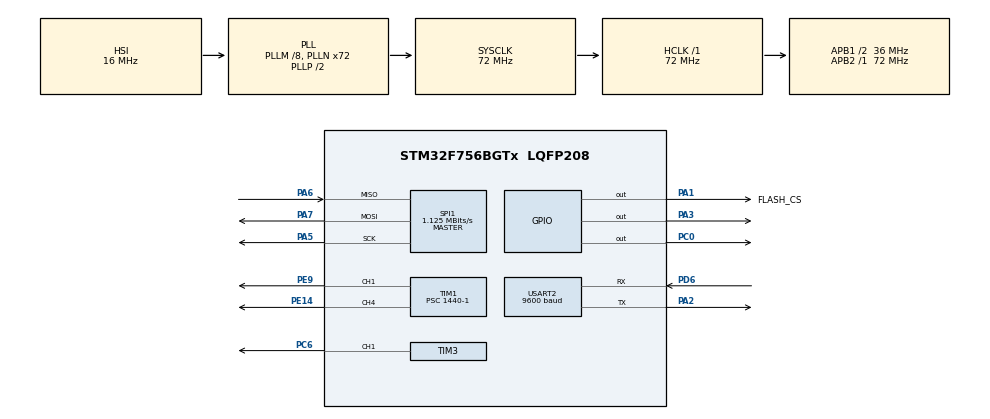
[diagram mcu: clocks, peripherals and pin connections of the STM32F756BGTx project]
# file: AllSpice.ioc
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Mcu.Family=STM32F7
PA6.Mode=Full_Duplex_Master
SH.S_TIM1_CH4.0=TIM1_CH4,PWM Generation4 CH4
RCC.CortexFreq_Value=72000000
SPI1.VirtualType=VM_MASTER
PC14/OSC32_IN.Mode=LSE-External-Oscillator
RCC.SYSCLKSource=RCC_SYSCLKSOURCE_PLLCLK
ProjectManager.StackSize=0x400
TIM1.Prescaler=1440-1
TIM1.Channel-PWM\ Generation4\ CH4=TIM_CHANNEL_4
SPI1.Direction=SPI_DIRECTION_2LINES
PH0/OSC_IN.Mode=HSE-External-Clock-Source
RCC.HCLKFreq_Value=72000000
RCC.APB2TimFreq_Value=72000000
TIM3.Period=1000 - 1
PH1/OSC_OUT.Signal=RCC_OSC_OUT
SPI1.CalculateBaudRate=1.125 MBits/s
RCC.AHBFreq_Value=72000000
TIM3.Channel-PWM\ Generation1\ CH1=TIM_CHANNEL_1
RCC.HSE_VALUE=8000000
PB3.Mode=JTAG_4_pins
USART2.VirtualMode-Asynchronous=VM_ASYNC
PA15.Mode=JTAG_4_pins
TIM1.Channel-PWM\ Generation1\ CH1=TIM_CHANNEL_1
PE9.Signal=S_TIM1_CH1
PA14.Mode=JTAG_4_pins
TIM3.Prescaler=1440 - 1
NVIC.TIM2_IRQn=true\:0\:0\:false\:false\:true\:true\:true
SPI1.DataSize=SPI_DATASIZE_8BIT
SH.S_TIM3_CH1.0=TIM3_CH1,PWM Generation1 CH1
PH1/OSC_OUT.Mode=HSE-External-Clock-Source
VP_TIM1_VS_ClockSourceINT.Mode=Internal
Mcu.Package=LQFP208
TIM2.Prescaler=2500-1
PA6.Signal=SPI1_MISO
PC14/OSC32_IN.Signal=RCC_OSC32_IN
PA15.Signal=SYS_JTDI
RCC.APB1TimFreq_Value=72000000
TIM1.Period=1000-1
PD6.Signal=USART2_RX
SPI1.BaudRatePrescaler=SPI_BAUDRATEPRESCALER_64
VP_TIM3_VS_ClockSourceINT.Mode=Internal
PA3.Signal=GPIO_Output
PA5.Mode=Full_Duplex_Master
PA7.Mode=Full_Duplex_Master
PC6.Signal=S_TIM3_CH1
PC0.Signal=GPIO_Output
RCC.APB1CLKDivider=RCC_HCLK_DIV2
PD6.Mode=Asynchronous
NVIC.USART2_IRQn=true\:0\:0\:false\:false\:true\:true\:true
USART2.BaudRate=9600
PA13.Signal=SYS_JTMS-SWDIO
SH.S_TIM1_CH1.0=TIM1_CH1,PWM Generation1 CH1
ProjectManager.TargetToolchain=STM32CubeIDE
RCC.USBFreq_Value=72000000
PA1.Signal=GPIO_Output
PA5.Signal=SPI1_SCK
board=custom
RCC.VCOOutputFreq_Value=144000000
PH0/OSC_IN.Signal=RCC_OSC_IN
RCC.APB2Freq_Value=72000000
PE14.Signal=S_TIM1_CH4
VP_TIM2_VS_ClockSourceINT.Mode=Internal
SPI1.Mode=SPI_MODE_MASTER
PA1.GPIO_Label=FLASH_CS
TIM2.Period=50000-1
PA13.Mode=JTAG_4_pins
Mcu.Name=STM32F756BGTx
SPI1.NSSPMode=SPI_NSS_PULSE_DISABLE
PA2.Signal=USART2_TX
PB3.Signal=SYS_JTDO-SWO
RCC.SYSCLKFreq_VALUE=72000000
PC15/OSC32_OUT.Mode=LSE-External-Oscillator
PA14.Signal=SYS_JTCK-SWCLK
ProjectManager.HeapSize=0x200
RCC.HSI_VALUE=16000000
NVIC.PriorityGroup=NVIC_PRIORITYGROUP_4
RCC.PLLM=8
RCC.PLLN=72
PA2.Mode=Asynchronous
PC15/OSC32_OUT.Signal=RCC_OSC32_OUT
RCC.APB1Freq_Value=36000000
VP_CRC_VS_CRC.Mode=CRC_Activate
PA7.Signal=SPI1_MOSI

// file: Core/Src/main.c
/* USER CODE BEGIN Header */
/**
 ******************************************************************************
 * @file           : main.c
 * @brief          : Main program body
 ******************************************************************************
 * @attention
 *
 * <h2><center>&copy; Copyright (c) 2021 STMicroelectronics.
 * All rights reserved.</center></h2>
 *
 * This software component is licensed by ST under BSD 3-Clause license,
 * the "License"; You may not use this file except in compliance with the
 * License. You may obtain a copy of the License at:
 *                        opensource.org/licenses/BSD-3-Clause
 *
 ******************************************************************************
 */
/* USER CODE END Header */
#include "main.h"

/* USER CODE BEGIN Includes */
#include <stdlib.h>
#include "spices.h"
#include "flash.h"
#include "bluetooth.h"
#include "motors.h"
/* USER CODE END Includes */

CRC_HandleTypeDef hcrc;

SPI_HandleTypeDef hspi1;

TIM_HandleTypeDef htim1;
TIM_HandleTypeDef htim2;
TIM_HandleTypeDef htim3;

UART_HandleTypeDef huart2;

/* USER CODE BEGIN PV */
// Allocate memory for spice_list
spice_t spice_list[NUMCONTAINERS];
/* USER CODE END PV */

void SystemClock_Config(void);
static void MX_GPIO_Init(void);
static void MX_CRC_Init(void);
static void MX_SPI1_Init(void);
static void MX_TIM1_Init(void);
static void MX_TIM2_Init(void);
static void MX_USART2_UART_Init(void);
static void MX_TIM3_Init(void);

int main(void) {
	/* USER CODE BEGIN 1 */
	HAL_GPIO_WritePin(FLASH_CS_GPIO_Port, FLASH_CS_Pin, SET);
	/* USER CODE END 1 */

	/* MCU Configuration--------------------------------------------------------*/

	/* Reset of all peripherals, Initializes the Flash interface and the Systick. */
	HAL_Init();

	/* Configure the system clock */
	SystemClock_Config();

	/* Initialize all configured peripherals */
	MX_GPIO_Init();
	MX_CRC_Init();
	MX_SPI1_Init();
	MX_TIM1_Init();
	MX_TIM2_Init();
	MX_USART2_UART_Init();
	MX_TIM3_Init();
	/* USER CODE BEGIN 2 */

	// Attempt to read spice_list from flash; if invalid, make new list
	// Make 10 attempts, flash read can be unreliable
	for (int i = 0; i < 10; i++) {
		if (flash_read())
			goto valid;
	}
	// Only execute this if invalid
	initList(spice_list);
	flash_write();

	valid:

	// Set buffer to all 0's
	memset(buffer, 0, sizeof(buffer));

	// For broadcast every five seconds; shouldn't need this, but
	// I left it in case I want to turn it back on
//	HAL_TIM_Base_Start_IT(&htim2);

	// Enable USART2 interrupt
	__HAL_UART_ENABLE_IT(&huart2, UART_IT_RXNE);

	// Start PWM for servo
	HAL_TIM_PWM_Start(&htim1, TIM_CHANNEL_1);

	/* USER CODE END 2 */

	/* Infinite loop */
	while (1) {

	}
}

void SystemClock_Config(void) {
	RCC_OscInitTypeDef RCC_OscInitStruct = { 0 };
	RCC_ClkInitTypeDef RCC_ClkInitStruct = { 0 };
	RCC_PeriphCLKInitTypeDef PeriphClkInitStruct = { 0 };

	/** Configure LSE Drive Capability
	 */
	HAL_PWR_EnableBkUpAccess();
	/** Configure the main internal regulator output voltage
	 */
	__HAL_RCC_PWR_CLK_ENABLE();
	__HAL_PWR_VOLTAGESCALING_CONFIG(PWR_REGULATOR_VOLTAGE_SCALE3);
	/** Initializes the RCC Oscillators according to the specified parameters
	 * in the RCC_OscInitTypeDef structure.
	 */
	RCC_OscInitStruct.OscillatorType = RCC_OSCILLATORTYPE_HSI;
	RCC_OscInitStruct.HSIState = RCC_HSI_ON;
	RCC_OscInitStruct.HSICalibrationValue = RCC_HSICALIBRATION_DEFAULT;
	RCC_OscInitStruct.PLL.PLLState = RCC_PLL_ON;
	RCC_OscInitStruct.PLL.PLLSource = RCC_PLLSOURCE_HSI;
	RCC_OscInitStruct.PLL.PLLM = 8;
	RCC_OscInitStruct.PLL.PLLN = 72;
	RCC_OscInitStruct.PLL.PLLP = RCC_PLLP_DIV2;
	RCC_OscInitStruct.PLL.PLLQ = 2;
	if (HAL_RCC_OscConfig(&RCC_OscInitStruct) != HAL_OK) {
		Error_Handler();
	}
	/** Initializes the CPU, AHB and APB buses clocks
	 */
	RCC_ClkInitStruct.ClockType = RCC_CLOCKTYPE_HCLK | RCC_CLOCKTYPE_SYSCLK
			| RCC_CLOCKTYPE_PCLK1 | RCC_CLOCKTYPE_PCLK2;
	RCC_ClkInitStruct.SYSCLKSource = RCC_SYSCLKSOURCE_PLLCLK;
	RCC_ClkInitStruct.AHBCLKDivider = RCC_SYSCLK_DIV1;
	RCC_ClkInitStruct.APB1CLKDivider = RCC_HCLK_DIV2;
	RCC_ClkInitStruct.APB2CLKDivider = RCC_HCLK_DIV1;

	if (HAL_RCC_ClockConfig(&RCC_ClkInitStruct, FLASH_LATENCY_2) != HAL_OK) {
		Error_Handler();
	}
	PeriphClkInitStruct.PeriphClockSelection = RCC_PERIPHCLK_USART2;
	PeriphClkInitStruct.Usart2ClockSelection = RCC_USART2CLKSOURCE_PCLK1;
	if (HAL_RCCEx_PeriphCLKConfig(&PeriphClkInitStruct) != HAL_OK) {
		Error_Handler();
	}
}

static void MX_CRC_Init(void) {

	hcrc.Instance = CRC;
	hcrc.Init.DefaultPolynomialUse = DEFAULT_POLYNOMIAL_ENABLE;
	hcrc.Init.DefaultInitValueUse = DEFAULT_INIT_VALUE_ENABLE;
	hcrc.Init.InputDataInversionMode = CRC_INPUTDATA_INVERSION_NONE;
	hcrc.Init.OutputDataInversionMode = CRC_OUTPUTDATA_INVERSION_DISABLE;
	hcrc.InputDataFormat = CRC_INPUTDATA_FORMAT_BYTES;
	if (HAL_CRC_Init(&hcrc) != HAL_OK) {
		Error_Handler();
	}

}

static void MX_SPI1_Init(void) {

	/* SPI1 parameter configuration*/
	hspi1.Instance = SPI1;
	hspi1.Init.Mode = SPI_MODE_MASTER;
	hspi1.Init.Direction = SPI_DIRECTION_2LINES;
	hspi1.Init.DataSize = SPI_DATASIZE_8BIT;
	hspi1.Init.CLKPolarity = SPI_POLARITY_LOW;
	hspi1.Init.CLKPhase = SPI_PHASE_1EDGE;
	hspi1.Init.NSS = SPI_NSS_SOFT;
	hspi1.Init.BaudRatePrescaler = SPI_BAUDRATEPRESCALER_64;
	hspi1.Init.FirstBit = SPI_FIRSTBIT_MSB;
	hspi1.Init.TIMode = SPI_TIMODE_DISABLE;
	hspi1.Init.CRCCalculation = SPI_CRCCALCULATION_DISABLE;
	hspi1.Init.CRCPolynomial = 7;
	hspi1.Init.CRCLength = SPI_CRC_LENGTH_DATASIZE;
	hspi1.Init.NSSPMode = SPI_NSS_PULSE_DISABLE;
	if (HAL_SPI_Init(&hspi1) != HAL_OK) {
		Error_Handler();
	}

}

static void MX_TIM1_Init(void) {

	TIM_ClockConfigTypeDef sClockSourceConfig = { 0 };
	TIM_MasterConfigTypeDef sMasterConfig = { 0 };
	TIM_OC_InitTypeDef sConfigOC = { 0 };
	TIM_BreakDeadTimeConfigTypeDef sBreakDeadTimeConfig = { 0 };

	htim1.Instance = TIM1;
	htim1.Init.Prescaler = 1440 - 1;
	htim1.Init.CounterMode = TIM_COUNTERMODE_UP;
	htim1.Init.Period = 1000 - 1;
	htim1.Init.ClockDivision = TIM_CLOCKDIVISION_DIV1;
	htim1.Init.RepetitionCounter = 0;
	htim1.Init.AutoReloadPreload = TIM_AUTORELOAD_PRELOAD_DISABLE;
	if (HAL_TIM_Base_Init(&htim1) != HAL_OK) {
		Error_Handler();
	}
	sClockSourceConfig.ClockSource = TIM_CLOCKSOURCE_INTERNAL;
	if (HAL_TIM_ConfigClockSource(&htim1, &sClockSourceConfig) != HAL_OK) {
		Error_Handler();
	}
	if (HAL_TIM_PWM_Init(&htim1) != HAL_OK) {
		Error_Handler();
	}
	sMasterConfig.MasterOutputTrigger = TIM_TRGO_RESET;
	sMasterConfig.MasterOutputTrigger2 = TIM_TRGO2_RESET;
	sMasterConfig.MasterSlaveMode = TIM_MASTERSLAVEMODE_DISABLE;
	if (HAL_TIMEx_MasterConfigSynchronization(&htim1, &sMasterConfig)
			!= HAL_OK) {
		Error_Handler();
	}
	sConfigOC.OCMode = TIM_OCMODE_PWM1;
	sConfigOC.Pulse = 0;
	sConfigOC.OCPolarity = TIM_OCPOLARITY_HIGH;
	sConfigOC.OCNPolarity = TIM_OCNPOLARITY_HIGH;
	sConfigOC.OCFastMode = TIM_OCFAST_DISABLE;
	sConfigOC.OCIdleState = TIM_OCIDLESTATE_RESET;
	sConfigOC.OCNIdleState = TIM_OCNIDLESTATE_RESET;
	if (HAL_TIM_PWM_ConfigChannel(&htim1, &sConfigOC, TIM_CHANNEL_1)
			!= HAL_OK) {
		Error_Handler();
	}
	if (HAL_TIM_PWM_ConfigChannel(&htim1, &sConfigOC, TIM_CHANNEL_4)
			!= HAL_OK) {
		Error_Handler();
	}
	sBreakDeadTimeConfig.OffStateRunMode = TIM_OSSR_DISABLE;
	sBreakDeadTimeConfig.OffStateIDLEMode = TIM_OSSI_DISABLE;
	sBreakDeadTimeConfig.LockLevel = TIM_LOCKLEVEL_OFF;
	sBreakDeadTimeConfig.DeadTime = 0;
	sBreakDeadTimeConfig.BreakState = TIM_BREAK_DISABLE;
	sBreakDeadTimeConfig.BreakPolarity = TIM_BREAKPOLARITY_HIGH;
	sBreakDeadTimeConfig.BreakFilter = 0;
	sBreakDeadTimeConfig.Break2State = TIM_BREAK2_DISABLE;
	sBreakDeadTimeConfig.Break2Polarity = TIM_BREAK2POLARITY_HIGH;
	sBreakDeadTimeConfig.Break2Filter = 0;
	sBreakDeadTimeConfig.AutomaticOutput = TIM_AUTOMATICOUTPUT_DISABLE;
	if (HAL_TIMEx_ConfigBreakDeadTime(&htim1, &sBreakDeadTimeConfig)
			!= HAL_OK) {
		Error_Handler();
	}
	HAL_TIM_MspPostInit(&htim1);

}

static void MX_TIM2_Init(void) {

	TIM_ClockConfigTypeDef sClockSourceConfig = { 0 };
	TIM_MasterConfigTypeDef sMasterConfig = { 0 };

	htim2.Instance = TIM2;
	htim2.Init.Prescaler = 2500 - 1;
	htim2.Init.CounterMode = TIM_COUNTERMODE_UP;
	htim2.Init.Period = 50000 - 1;
	htim2.Init.ClockDivision = TIM_CLOCKDIVISION_DIV1;
	htim2.Init.AutoReloadPreload = TIM_AUTORELOAD_PRELOAD_DISABLE;
	if (HAL_TIM_Base_Init(&htim2) != HAL_OK) {
		Error_Handler();
	}
	sClockSourceConfig.ClockSource = TIM_CLOCKSOURCE_INTERNAL;
	if (HAL_TIM_ConfigClockSource(&htim2, &sClockSourceConfig) != HAL_OK) {
		Error_Handler();
	}
	sMasterConfig.MasterOutputTrigger = TIM_TRGO_RESET;
	sMasterConfig.MasterSlaveMode = TIM_MASTERSLAVEMODE_DISABLE;
	if (HAL_TIMEx_MasterConfigSynchronization(&htim2, &sMasterConfig)
			!= HAL_OK) {
		Error_Handler();
	}

}

static void MX_TIM3_Init(void) {

	TIM_ClockConfigTypeDef sClockSourceConfig = { 0 };
	TIM_MasterConfigTypeDef sMasterConfig = { 0 };
	TIM_OC_InitTypeDef sConfigOC = { 0 };

	htim3.Instance = TIM3;
	htim3.Init.Prescaler = 1440 - 1;
	htim3.Init.CounterMode = TIM_COUNTERMODE_UP;
	htim3.Init.Period = 1000 - 1;
	htim3.Init.ClockDivision = TIM_CLOCKDIVISION_DIV1;
	htim3.Init.AutoReloadPreload = TIM_AUTORELOAD_PRELOAD_DISABLE;
	if (HAL_TIM_Base_Init(&htim3) != HAL_OK) {
		Error_Handler();
	}
	sClockSourceConfig.ClockSource = TIM_CLOCKSOURCE_INTERNAL;
	if (HAL_TIM_ConfigClockSource(&htim3, &sClockSourceConfig) != HAL_OK) {
		Error_Handler();
	}
	if (HAL_TIM_PWM_Init(&htim3) != HAL_OK) {
		Error_Handler();
	}
	sMasterConfig.MasterOutputTrigger = TIM_TRGO_RESET;
	sMasterConfig.MasterSlaveMode = TIM_MASTERSLAVEMODE_DISABLE;
	if (HAL_TIMEx_MasterConfigSynchronization(&htim3, &sMasterConfig)
			!= HAL_OK) {
		Error_Handler();
	}
	sConfigOC.OCMode = TIM_OCMODE_PWM1;
	sConfigOC.Pulse = 0;
	sConfigOC.OCPolarity = TIM_OCPOLARITY_HIGH;
	sConfigOC.OCFastMode = TIM_OCFAST_DISABLE;
	if (HAL_TIM_PWM_ConfigChannel(&htim3, &sConfigOC, TIM_CHANNEL_1)
			!= HAL_OK) {
		Error_Handler();
	}
	HAL_TIM_MspPostInit(&htim3);

}

static void MX_USART2_UART_Init(void) {

	huart2.Instance = USART2;
	huart2.Init.BaudRate = 9600;
	huart2.Init.WordLength = UART_WORDLENGTH_8B;
	huart2.Init.StopBits = UART_STOPBITS_1;
	huart2.Init.Parity = UART_PARITY_NONE;
	huart2.Init.Mode = UART_MODE_TX_RX;
	huart2.Init.HwFlowCtl = UART_HWCONTROL_NONE;
	huart2.Init.OverSampling = UART_OVERSAMPLING_16;
	huart2.Init.OneBitSampling = UART_ONE_BIT_SAMPLE_DISABLE;
	huart2.AdvancedInit.AdvFeatureInit = UART_ADVFEATURE_NO_INIT;
	if (HAL_UART_Init(&huart2) != HAL_OK) {
		Error_Handler();
	}

}

static void MX_GPIO_Init(void) {
	GPIO_InitTypeDef GPIO_InitStruct = { 0 };

	/* GPIO Ports Clock Enable */
	__HAL_RCC_GPIOC_CLK_ENABLE();
	__HAL_RCC_GPIOH_CLK_ENABLE();
	__HAL_RCC_GPIOA_CLK_ENABLE();
	__HAL_RCC_GPIOE_CLK_ENABLE();
	__HAL_RCC_GPIOD_CLK_ENABLE();
	__HAL_RCC_GPIOB_CLK_ENABLE();

	/*Configure GPIO pin Output Level */
	HAL_GPIO_WritePin(GPIOC, GPIO_PIN_0, GPIO_PIN_RESET);

	/*Configure GPIO pin Output Level */
	HAL_GPIO_WritePin(GPIOA, FLASH_CS_Pin | GPIO_PIN_3, GPIO_PIN_RESET);

	/*Configure GPIO pin : PC0 */
	GPIO_InitStruct.Pin = GPIO_PIN_0;
	GPIO_InitStruct.Mode = GPIO_MODE_OUTPUT_PP;
	GPIO_InitStruct.Pull = GPIO_NOPULL;
	GPIO_InitStruct.Speed = GPIO_SPEED_FREQ_LOW;
	HAL_GPIO_Init(GPIOC, &GPIO_InitStruct);

	/*Configure GPIO pins : FLASH_CS_Pin PA3 */
	GPIO_InitStruct.Pin = FLASH_CS_Pin | GPIO_PIN_3;
	GPIO_InitStruct.Mode = GPIO_MODE_OUTPUT_PP;
	GPIO_InitStruct.Pull = GPIO_NOPULL;
	GPIO_InitStruct.Speed = GPIO_SPEED_FREQ_LOW;
	HAL_GPIO_Init(GPIOA, &GPIO_InitStruct);

}

void Error_Handler(void) {
	__disable_irq();
	while (1) {
	}
}

/************************ (C) COPYRIGHT STMicroelectronics *****END OF FILE****/
